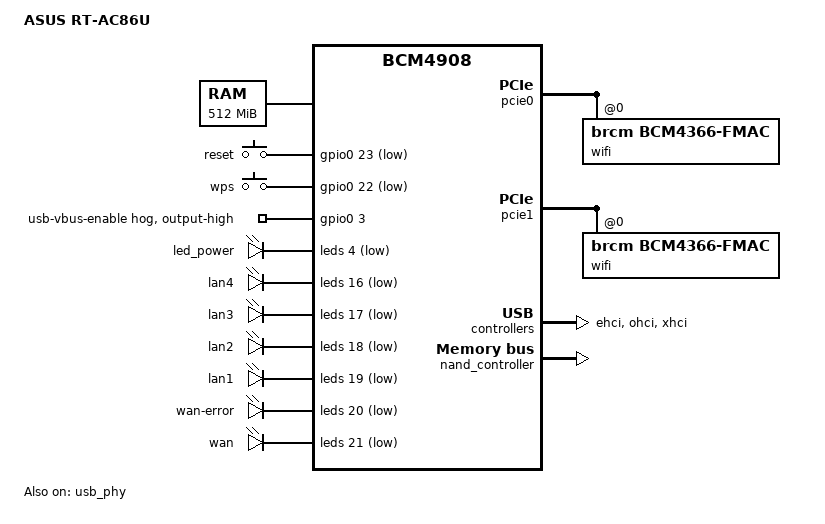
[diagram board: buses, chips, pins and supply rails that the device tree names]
// SPDX-License-Identifier: GPL-2.0-or-later OR MIT
// <FILE>target/linux/bcm4908/dts/bcm4906-asus-rt-ac86u.dts</FILE> - <DESC>RT-AC86U Ethernet board candidate with live-verified NAND and MAC layout.</DESC>
// <VERS>VERSION: 0.9.1</VERS>
// <WCTX>Reproduce the stock PCI-zero RAM view using the upstream PCIe driver's BAR2 mapping.</WCTX>
// <CLOG>Describe WAN-red startup ownership consistently with the carrier/default-route handoff policy.</CLOG>

#include <dt-bindings/gpio/gpio.h>
#include <dt-bindings/input/input.h>
#include <dt-bindings/leds/common.h>
#include <dt-bindings/soc/bcm-pmb.h>

// External DTS ownership keeps board-only edits out of kernel preparation hashes.
#include "broadcom/bcmbca/bcm4906.dtsi"

/ {
	asus,rt-ac86u-bootdiag;
	asus,rt-ac86u-rootdiag;
	asus,rt-ac86u-rootpathdiag;
	asus,rt-ac86u-bootzones;
	compatible = "asus,rt-ac86u", "brcm,bcm4906", "brcm,bcm4908", "brcm,bcmbca";
	model = "ASUS RT-AC86U";

	aliases {
		led-boot = &led_power;
		led-failsafe = &led_power;
		led-running = &led_power;
		led-upgrade = &led_power;
	};

	memory@0 {
		device_type = "memory";
		reg = <0x00 0x00 0x00 0x20000000>;
	};

	/* Host driver is a module without boot autoload; radio probing is manual. */
	pcie0: pcie@80040000 {
		compatible = "brcm,bcm4908-pcie";
		reg = <0 0x80040000 0 0xa000>;
		power-domains = <&pmb BCM_PMB_PCIE0>;
		resets = <&{/bus@ff800000/misc@2600/reset-controller@2644} 0>;
		reset-names = "perst";
		interrupts = <GIC_SPI 59 IRQ_TYPE_LEVEL_HIGH>;
		interrupt-names = "pcie";
		device_type = "pci";
		linux,pci-domain = <0>;
		bus-range = <0 0xff>;
		#address-cells = <3>;
		#size-cells = <2>;
		#interrupt-cells = <1>;
		interrupt-map-mask = <0 0 0 7>;
		interrupt-map = <0 0 0 1 &gic GIC_SPI 59 IRQ_TYPE_LEVEL_HIGH>;
		/* No msi-parent: use the observed legacy INTA route first. */
		msi-controller;
		ranges = <0x02000000 0 0xc0000000 0 0xc0000000 0 0x10000000>;
		/* Reproduce stock PCI-zero RAM view via mainline BAR2, 512 MiB. */
		dma-ranges = <0x02000000 0 0 0 0 0 0x20000000>;

		pci@0,0 {
			device_type = "pci";
			#address-cells = <3>;
			#size-cells = <2>;
			reg = <0 0 0 0 0>;
			ranges;

			wifi@0,0 {
				compatible = "brcm,bcm4366-fmac", "brcm,bcm4329-fmac";
				reg = <0 0 0 0 0>;
				brcm,board-type = "asus,rt-ac86u-radio0";
			};
		};
	};

	pcie1: pcie@80050000 {
		compatible = "brcm,bcm4908-pcie";
		reg = <0 0x80050000 0 0xa000>;
		power-domains = <&pmb BCM_PMB_PCIE1>;
		resets = <&{/bus@ff800000/misc@2600/reset-controller@2644} 1>;
		reset-names = "perst";
		interrupts = <GIC_SPI 60 IRQ_TYPE_LEVEL_HIGH>;
		interrupt-names = "pcie";
		device_type = "pci";
		linux,pci-domain = <1>;
		bus-range = <0 0xff>;
		#address-cells = <3>;
		#size-cells = <2>;
		#interrupt-cells = <1>;
		interrupt-map-mask = <0 0 0 7>;
		interrupt-map = <0 0 0 1 &gic GIC_SPI 60 IRQ_TYPE_LEVEL_HIGH>;
		msi-controller;
		ranges = <0x02000000 0 0xd0000000 0 0xd0000000 0 0x10000000>;
		dma-ranges = <0x02000000 0 0 0 0 0 0x20000000>;

		pci@0,0 {
			device_type = "pci";
			#address-cells = <3>;
			#size-cells = <2>;
			reg = <0 0 0 0 0>;
			ranges;

			wifi@0,0 {
				compatible = "brcm,bcm4366-fmac", "brcm,bcm4329-fmac";
				reg = <0 0 0 0 0>;
				brcm,board-type = "asus,rt-ac86u-radio1";
			};
		};
	};

	keys {
		compatible = "gpio-keys-polled";
		poll-interval = <100>;

		reset {
			label = "reset";
			linux,code = <KEY_RESTART>;
			gpios = <&gpio0 23 GPIO_ACTIVE_LOW>;
		};

		wps {
			label = "wps";
			linux,code = <KEY_WPS_BUTTON>;
			gpios = <&gpio0 22 GPIO_ACTIVE_LOW>;
		};
	};

};

&usb_phy {
	/* Match the BCM4908 vendor driver's SETUP IOC/IPP initialization. */
	brcm,ioc = <1>;
	brcm,ipp = <1>;
	status = "okay";
};

&ehci {
	status = "okay";
};

&ohci {
	status = "okay";
};

&xhci {
	status = "okay";
};

&{/bus@ff800000/pinctrl@560} {
	usb_vbus_pins: usb-vbus-pins {
		function = "gpio_3";
		groups = "gpio_3_grp";
	};
};

&gpio0 {
	/* Driver core selects this state before gpio-mmio registers its hogs. */
	pinctrl-names = "default";
	pinctrl-0 = <&usb_vbus_pins>;

	usb-vbus {
		gpio-hog;
		/* NVRAM AL describes the LED API; Merlin power-on resolves to pad3 high. */
		gpios = <3 GPIO_ACTIVE_HIGH>;
		output-high;
		line-name = "usb-vbus-enable";
	};
};

&leds {
	status = "okay";

	led_power: led@4 {
		reg = <4>;
		function = LED_FUNCTION_POWER;
		active-low;
		pinctrl-names = "default";
		pinctrl-0 = <&pins_led_4_a>;
		linux,default-trigger = "default-on";
	};

	/* Physical LAN order follows switch ports3..0, not ASUS logical LED names. */
	led_lan4: led@10 {
		reg = <16>;
		label = "lan4";
		function = LED_FUNCTION_LAN;
		active-low;
		pinctrl-names = "default";
		pinctrl-0 = <&pins_led_16_a>;
	};

	led_lan3: led@11 {
		reg = <17>;
		label = "lan3";
		function = LED_FUNCTION_LAN;
		active-low;
		pinctrl-names = "default";
		pinctrl-0 = <&pins_led_17_a>;
	};

	led_lan2: led@12 {
		reg = <18>;
		label = "lan2";
		function = LED_FUNCTION_LAN;
		active-low;
		pinctrl-names = "default";
		pinctrl-0 = <&pins_led_18_a>;
	};

	led_lan1: led@13 {
		reg = <19>;
		label = "lan1";
		function = LED_FUNCTION_LAN;
		active-low;
		pinctrl-names = "default";
		pinctrl-0 = <&pins_led_19_a>;
	};

	led_wan_error: led@14 {
		reg = <20>;
		label = "wan-error";
		function = LED_FUNCTION_WAN;
		active-low;
		pinctrl-names = "default";
		pinctrl-0 = <&pins_led_20_a>;
		/* Startup indication; normal WAN policy reconciles carrier/routes after handoff. */
		linux,default-trigger = "default-on";
	};

	led_wan: led@15 {
		reg = <21>;
		label = "wan";
		function = LED_FUNCTION_WAN;
		active-low;
		pinctrl-names = "default";
		pinctrl-0 = <&pins_led_21_a>;
	};
};

&enet {
	nvmem-cells = <&base_mac_addr>;
	nvmem-cell-names = "mac-address";
};

&ports {
	/* Printed LAN labels match the product table and per-jack cable checks. */
	port@0 {
		label = "lan4";
	};

	port@1 {
		label = "lan3";
	};

	port@2 {
		label = "lan2";
	};

	port@3 {
		label = "lan1";
	};

	port@7 {
		reg = <7>;
		phy-mode = "internal";
		phy-handle = <&phy12>;
		label = "wan";
	};
};

&nand_controller {
	status = "okay";
};

&nandcs {
	nand-ecc-strength = <4>;
	nand-ecc-step-size = <512>;
	nand-on-flash-bbt;

	partitions {
		compatible = "brcm,bcm4908-partitions";
		#address-cells = <1>;
		#size-cells = <1>;

		partition@0 {
			label = "cferom";
			reg = <0x0 0x100000>;
			read-only;

			nvmem-layout {
				compatible = "fixed-layout";
				#address-cells = <1>;
				#size-cells = <1>;

				base_mac_addr: mac@106a0 {
					reg = <0x106a0 0x6>;
				};
			};
		};

		/* CFE's NAND_RFS_OFS selects firmware versus backup at runtime. */
		partition@100000 {
			compatible = "brcm,bcm4908-firmware";
			reg = <0x100000 0x5f00000>;
		};

		partition@6000000 {
			compatible = "brcm,bcm4908-firmware";
			reg = <0x6000000 0x5f00000>;
		};

		partition@bf00000 {
			label = "misc1";
			reg = <0xbf00000 0x800000>;
			read-only;
		};

		partition@c700000 {
			label = "misc2";
			reg = <0xc700000 0x2f00000>;
			read-only;
		};

		partition@f600000 {
			label = "misc3";
			reg = <0xf600000 0x100000>;
			read-only;
		};

		partition@f700000 {
			label = "data";
			reg = <0xf700000 0x800000>;
			read-only;
		};

		partition@ff00000 {
			label = "reserved";
			reg = <0xff00000 0x100000>;
			read-only;
		};
	};
};

// <FILE>target/linux/bcm4908/dts/bcm4906-asus-rt-ac86u.dts</FILE> - <DESC>RT-AC86U Ethernet board candidate with live-verified NAND and MAC layout.</DESC>
// <VERS>END OF VERSION: 0.9.1</VERS>
